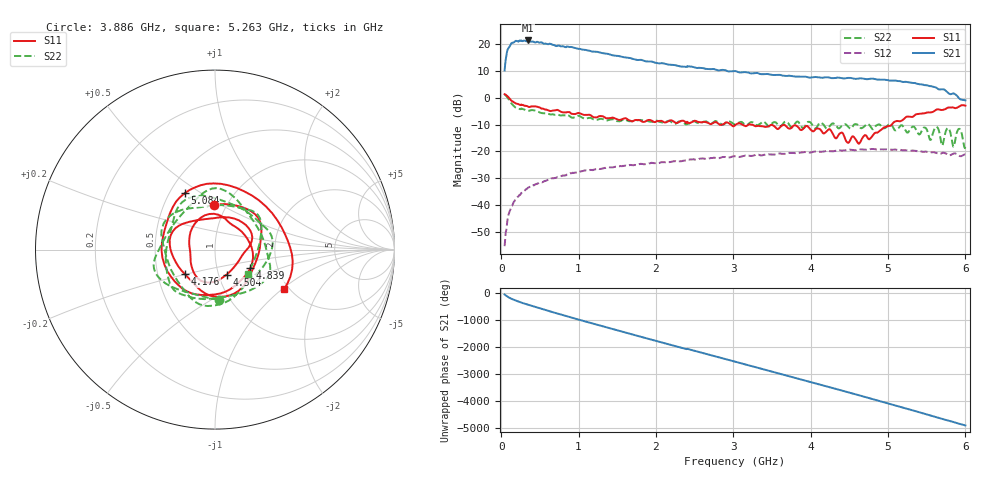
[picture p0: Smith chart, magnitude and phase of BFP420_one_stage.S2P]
! C:\Users\Aljaz\OneDrive - Univerza v Ljubljani\DOKTORAT\NOVI SA\IZVOR LMX2491 and STuW81300\meritve\BFP420_one_stage.S2P
! Touchstone 1.1 file saved by VNA.EXE V1.65 (www.ke5fx.com/gpib/readme.htm)
! 21. 06. 2022 14:51:20
!  Source: HP8510C.07.14: Aug 26  1998
!  Min freq: 4.500000E+007 Hz
!  Max freq: 6.000000E+009 Hz
!  Points: 801
!  Params: S11 S21 S12 S22
# GHZ S DB R 50
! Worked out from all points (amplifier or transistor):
!   801 points, 45 MHz to 6 GHz, reference 50 ohm
!   highest |S21| = 21.4 dB at 350.2 MHz (marker M1)
!   |S21| within 3 dB of that: 90.45 MHz to 978.9 MHz (888.4 MHz wide, 166 % of centre)
!   unconditionally stable (mu >= 1): 1.178 GHz to 1.261 GHz; 1.297 GHz to end of sweep
!   at 1.035 GHz: K = 0.85, MSG = 22.8 dB, |S12| = -27.4 dB
!   at 3.022 GHz: K = 1.63, MAG = 11.2 dB, |S12| = -21.8 dB
!   at 6 GHz: K = 3.25, MAG = 2.1 dB, |S12| = -21.2 dB
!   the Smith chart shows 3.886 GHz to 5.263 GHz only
!   S11 on the Smith chart (normalised r, x): 3.886 GHz: 0.87, +0.46; 4.176 GHz: 0.69, -0.20; 4.504 GHz: 1.09, -0.31; 4.839 GHz: 1.45, -0.32; 5.084 GHz: 0.60, +0.43; 5.263 GHz: 1.88, -1.04
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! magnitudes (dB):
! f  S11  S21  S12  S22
! 45 MHz  1.3  10.2  -55.4  1.2
! 134.3 MHz  -1.1  20.4  -40.6  -2.1
! 350.2 MHz  -3.4  21.4  -33.5  -4.8
! 1.042 GHz  -6.1  18.0  -27.4  -7.3
! 2.032 GHz  -8.7  12.9  -24.4  -8.8
! 3.022 GHz  -10.3  10.0  -21.8  -10.0
! 3.886 GHz  -12.0  7.9  -20.4  -11.0
! 4.02 GHz  -12.4  7.7  -20.3  -10.1
! 4.176 GHz  -13.3  7.6  -20.0  -10.4
! 4.504 GHz  -16.3  7.4  -19.3  -11.4
! 4.839 GHz  -13.0  6.9  -19.3  -10.6
! 5.01 GHz  -10.5  6.5  -19.3  -10.0
! 5.084 GHz  -9.0  6.4  -19.4  -12.0
! 5.263 GHz  -7.0  5.8  -19.7  -12.9
! 5.479 GHz  -5.7  4.7  -20.1  -11.1
! 5.553 GHz  -5.5  4.4  -20.3  -15.7
! 5.628 GHz  -4.4  3.7  -20.6  -10.8
! 5.702 GHz  -4.6  3.2  -20.6  -17.8
! 5.777 GHz  -3.7  1.8  -21.3  -11.3
! 5.844 GHz  -3.6  1.6  -20.9  -18.3
! 5.918 GHz  -3.3  -0.2  -21.6  -11.6
! 6 GHz  -2.9  -1.0  -21.2  -18.4
